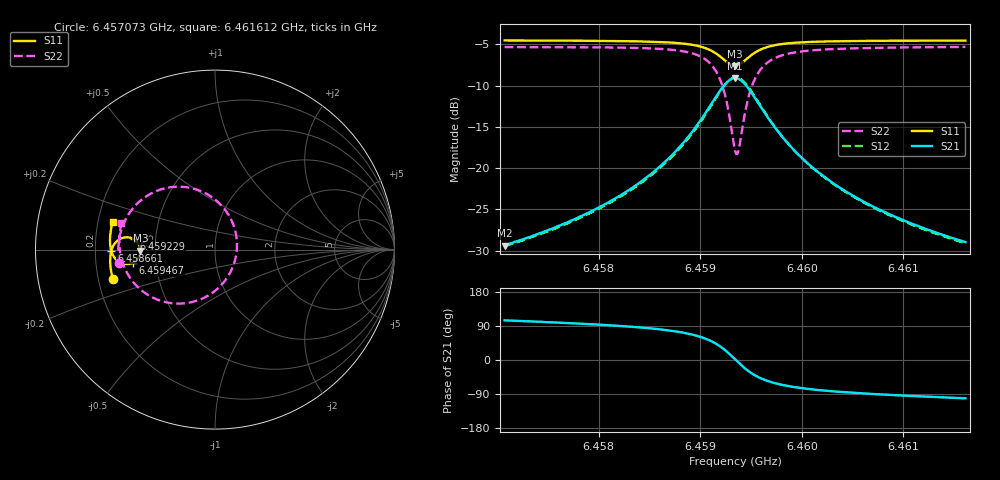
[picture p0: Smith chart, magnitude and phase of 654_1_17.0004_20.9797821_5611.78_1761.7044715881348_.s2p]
#  HZ  S  RI  R  50.00
! Rohde & Schwarz Vector Network Analyzer
! Rohde-Schwarz,ZNB20-2Port,1311601062101988,3.16
! Created: UTC 3/20/2024, 11:21:21 PM
! freq[Hz]  re:S11  im:S11  re:S21  im:S21  re:S12  im:S12  re:S22  im:S22
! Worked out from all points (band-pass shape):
!   401 points, 6.457073 GHz to 6.461612 GHz, reference 50 ohm
!   highest |S21| = -9.11 dB at 6.459342 GHz (marker M1); lowest = -29.4 dB at 6.457073 GHz (marker M2)
!   |S21| within 3 dB of the highest: 6.459116 GHz to 6.459571 GHz (454.6 kHz wide, 0.00704 % of centre)
!   lowest |S11| = -7.6 dB at 6.459342 GHz (marker M3), VSWR 2.42, Z = 20.6 - j0.296 ohm
!   |S11| at or under -10 dB: nowhere
!   |S22| runs from -18.3 to -5.3 dB; largest |S21 - S12| = 0.014
!   S11 on the Smith chart (normalised r, x): 6.457073 GHz: 0.26, -0.13; 6.458661 GHz: 0.27, -0.00; 6.459229 GHz: 0.38, +0.05; 6.459467 GHz: 0.37, -0.07; 6.461612 GHz: 0.26, +0.12
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6.4570728e9  -0.5687 -0.1648  -0.00857 0.0329  -0.00681 0.033  -0.5345 -0.0763
6.4578331e9  -0.582 -0.098  -0.00496 0.0511  -0.00253 0.0505  -0.5384 0.0138
6.4582643e9  -0.5842 -0.0544  0.00144 0.0716  0.00485 0.0701  -0.5288 0.0835
6.4585934e9  -0.5799 -0.0146  0.0154 0.1  0.0195 0.0971  -0.5026 0.1593
6.4586615e9  -0.5775 -0.00512  0.0208 0.1084  0.0252 0.105  -0.4923 0.1792
6.4588544e9  -0.5645 0.0252  0.0481 0.1394  0.0522 0.1343  -0.4412 0.2485
6.4590019e9  -0.5415 0.0514  0.0941 0.1698  0.0972 0.1629  -0.3562 0.3127
6.4591381e9  -0.497 0.0686  0.1823 0.186  0.183 0.1784  -0.1947 0.3504
6.4592289e9  -0.4522 0.058  0.2729 0.154  0.2729 0.1481  -0.0266 0.2985
6.459297e9  -0.4229 0.0255  0.334 0.0809  0.336 0.0759  0.0901 0.167
6.4593424e9  -0.4158 -0.00594  0.3503 0.0123  0.3541 0.00543  0.1224 0.0381
6.4593764e9  -0.4197 -0.03  0.3444 -0.041  0.3484 -0.05  0.1107 -0.063
6.4594218e9  -0.4355 -0.0565  0.3151 -0.1018  0.3177 -0.1137  0.0519 -0.1784
6.4594672e9  -0.458 -0.0731  0.2725 -0.1433  0.2716 -0.1569  -0.0352 -0.2544
6.459558e9  -0.502 -0.0802  0.186 -0.1745  0.1797 -0.1865  -0.2077 -0.3007
6.459626e9  -0.5266 -0.0728  0.1369 -0.1724  0.1286 -0.1815  -0.3029 -0.285
6.4597055e9  -0.5465 -0.0595  0.0965 -0.16  0.0878 -0.1664  -0.3785 -0.2494
6.4598643e9  -0.5682 -0.0317  0.0511 -0.1312  0.0433 -0.1341  -0.4598 -0.1755
6.4601027e9  -0.5809 0.00399  0.0219 -0.099  0.0159 -0.0993  -0.5078 -0.0915
6.4604544e9  -0.5853 0.0461  0.00547 -0.0708  0.00141 -0.0702  -0.5293 -0.00937
6.4608629e9  -0.5833 0.0873  -0.00175 -0.0526  -0.00483 -0.0518  -0.5327 0.0567
6.4616119e9  -0.5708 0.1539  -0.00678 -0.0351  -0.00856 -0.0341  -0.521 0.1464
